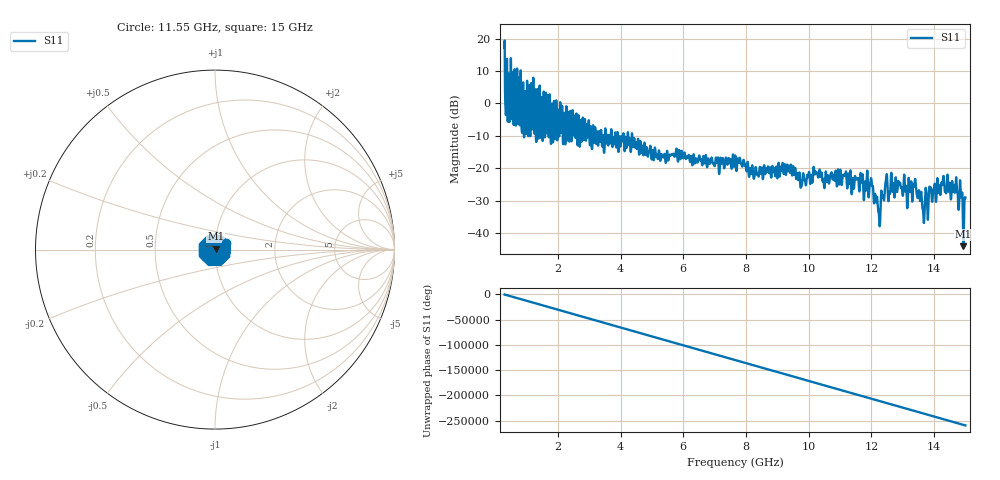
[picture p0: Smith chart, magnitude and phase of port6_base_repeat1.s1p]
# GHZ S RI R 50.0
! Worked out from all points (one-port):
!   12801 points, 300 MHz to 15 GHz, reference 50 ohm
!   lowest |S11| = -44.0 dB at 14.94 GHz (marker M1), VSWR 1.01, Z = 50.5 + j0.439 ohm
!   |S11| at or under -10 dB: 3.906 GHz to 4.081 GHz (175.5 MHz wide, 4.4 % of centre); 4.099 GHz to 4.222 GHz (123.2 MHz wide, 2.96 % of centre); 4.372 GHz to end of sweep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
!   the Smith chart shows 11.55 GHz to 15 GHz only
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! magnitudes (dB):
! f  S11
! 300 MHz  17.1
! 401.1 MHz  -5.6
! 755.9 MHz  7.9
! 914.4 MHz  -9.8
! 1.212 GHz  7.0
! 1.321 GHz  -10.4
! 1.613 GHz  -1.3
! 1.839 GHz  -11.8
! 2.138 GHz  -1.9
! 2.229 GHz  -12.5
! 3.975 GHz  -10.7
! 5.812 GHz  -16.7
! 7.65 GHz  -16.7
! 8.295 GHz  -20.4
! 9.488 GHz  -21.4
! 9.729 GHz  -24.4
! 10.21 GHz  -21.2
! 11.32 GHz  -21.4
! 12 GHz  -23.2
! 12.23 GHz  -33.3
! 12.45 GHz  -24.5
! 13.16 GHz  -29.9
! 13.39 GHz  -23.3
! 13.64 GHz  -32.5
! 14.25 GHz  -24.7
! 14.64 GHz  -26.3
! 14.94 GHz  -44.0
! 15 GHz  -29.0
